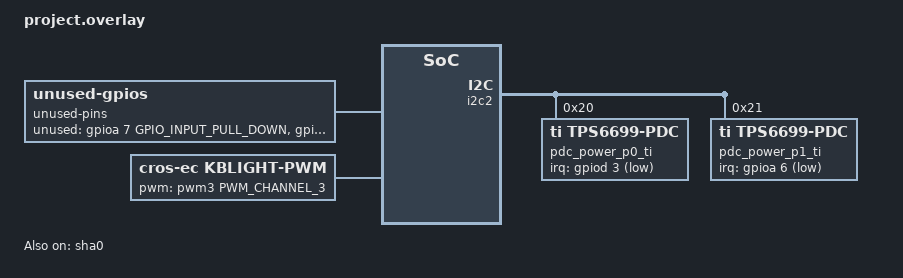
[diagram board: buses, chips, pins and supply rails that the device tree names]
/* Copyright 2025 The ChromiumOS Authors
 * Use of this source code is governed by a BSD-style license that can be
 * found in the LICENSE file.
 */

#include <cros/cbi_flash.dtsi>
#include "../ite_generated.dtsi"
#include "../interrupts.dtsi"
#include "../ite_common.dtsi"
#include "../ite_keyboard.dtsi"
#include "../ite_overlay.dtsi"
#include "../ite_usbc.dtsi"
#include "../power_signal.dtsi"
#include "../usba.dtsi"
#include "led_pins.dtsi"
#include "led_policy.dtsi"
#include "temp_sensor.dtsi"
#include "cbi.dtsi"

/ {
	batteries {
		default_battery: dynapack_b140435 {
			compatible = "dynapack,b140435","battery-smart";
		};
		celxpert_b340442 {
			compatible = "celxpert,b340442","battery-smart";
		};
		celxpert_p360644 {
			compatible = "celxpert,p360644","battery-smart";
		};
		smp_c31n2313 {
			compatible = "smp,c31n2313","battery-smart";
		};
	};

	gpio-interrupts {
		/delete-node/ lid-accel;
		/delete-node/ ec-imu;
		/delete-node/ tablet_mode;
		/delete-node/ volume-up;
		/delete-node/ volume-down;
		int_jd1: jd1 {
			irq-pin = <&gpio_jd1>;
			flags = <GPIO_INT_EDGE_BOTH>;
			handler = "audio_jack_interrupt";
		};
	};

	named-gpios {
		/delete-node/ ec_i2c_pdc0_s_int_odl;
		/delete-node/ ec_i2c_pdc1_s_int_odl;
		/delete-node/ usb_c0_dp_hpd;
		/delete-node/ usb_c1_dp_hpd;
		/delete-node/ en_usb_c0_dev_mode;
		/delete-node/ ec_kso_02_inv;
		/delete-node/ imu_int_ec_l;
		/delete-node/ lid_accel_int_ec_l;
		/delete-node/ lid_360_l;
		/delete-node/ ec_voldn_btn_odl;
		/delete-node/ ec_volup_btn_odl;
		/delete-node/ ec_pen_chg_dis_odl;
		/delete-node/ en_pp5000_z1;

		gpio_ec_en_ppvar_blpwr: ec_en_ppvar_blpwr {
			gpios = <&gpioi 1 (GPIO_OUTPUT | GPIO_OUTPUT_INIT_LOW)>;
		};
		gpio_jd1: jd1 {
			gpios = <&gpiof 0 (GPIO_INPUT | GPIO_VOLTAGE_1P8)>;
		};
		gpio_5p0va_pwr_mode: 5p0va_pwr_mode {
			gpios = <&gpiod 7 (GPIO_OUTPUT | GPIO_OUTPUT_INIT_LOW)>;
		};
		gpio_tp_vtsp_en: tp_vtsp_en {
			gpios = <&gpioe 0 (GPIO_OUTPUT | GPIO_PUSH_PULL | GPIO_OUTPUT_INIT_LOW)>;
		};
		gpio_tp_rst: tp_rst {
			gpios = <&gpioe 7 (GPIO_OUTPUT | GPIO_PUSH_PULL  | GPIO_OUTPUT_INIT_LOW)>;
		};
		gpio_tp_en: tp_en {
			gpios = <&gpiof 2 (GPIO_OUTPUT | GPIO_OPEN_DRAIN | GPIO_OUTPUT_INIT_LOW)>;
		};
	};

	named-i2c-ports {
		/delete-node/ ec_i2c_pdc_s_scl_3v3;
		/delete-node/ ec_i2c_sensor_scl_1v8;
	};

	unused-pins {
		compatible = "unused-gpios";
		unused-gpios =
			<&gpioa 7 GPIO_INPUT_PULL_DOWN>,
			<&gpiob 2 GPIO_INPUT_PULL_DOWN>,
			<&gpiob 5 GPIO_INPUT_PULL_DOWN>,
			<&gpiob 6 GPIO_INPUT_PULL_DOWN>,
			<&gpioc 7 GPIO_INPUT_PULL_DOWN>,
			<&gpiod 0 GPIO_INPUT_PULL_DOWN>,
			<&gpiod 1 GPIO_INPUT_PULL_DOWN>,
			<&gpiod 4 GPIO_INPUT_PULL_DOWN>,
			<&gpioe 3 GPIO_INPUT_PULL_DOWN>,
			<&gpioe 4 GPIO_INPUT_PULL_DOWN>,
			<&gpiof 1 GPIO_INPUT_PULL_DOWN>,
			<&gpiof 4 GPIO_INPUT_PULL_DOWN>,
			<&gpiof 5 GPIO_INPUT_PULL_DOWN>,
			<&gpioh 1 GPIO_INPUT_PULL_DOWN>,
			<&gpioh 2 GPIO_INPUT_PULL_DOWN>,
			<&gpioh 3 GPIO_INPUT_PULL_DOWN>,
			<&gpioi 5 GPIO_INPUT_PULL_DOWN>,
			<&gpioj 2 GPIO_INPUT_PULL_DOWN>;
	};

	cros-keyscan {
		compatible = "cros-ec,keyscan";

		debounce-down = <20000>;
		debounce-up = <20000>;

		actual-key-mask = <
			0x08	/* C0 */
			0xff	/* C1 */
			0xff	/* C2 */
			0xff	/* C3 */
			0xff	/* C4 */
			0xff	/* C5 */
			0xff	/* C6 */
			0xa4	/* C7 */
			0xff	/* C8 */
			0xf7	/* C9 */
			0x55	/* C10 */
			0xff	/* C11 */
			0xff	/* C12 */
			0x40	/* C13 */
			0x0a	/* C14 */
			0x40	/* C15 */
			0xff	/* C16 */
			0xff	/* C17 */
		>;
	};

	kblight {
		compatible = "cros-ec,kblight-pwm";
		pwms = <&pwm3 PWM_CHANNEL_3 PWM_KHZ(24) PWM_POLARITY_NORMAL>;
	};
};

&pwm2 {
	status = "disabled";
};

&pwm3 {
	prescaler-cx = <PWM_PRESCALER_C4>;
};

&i2c0 {
	data-hold-time = <10>;
};

&i2c4 {
	/delete-node/ ps8747-mux-1@10;
	/delete-node/ tusb546-mux-0@44;

	status = "disabled";
};

&i2c2 {
	pdc_power_p0_ti: tps6699-pdc@20 {
		compatible = "ti,tps6699-pdc";
		reg = <0x20>;
		irq-gpios = <&gpiod 3 GPIO_ACTIVE_LOW>;
		port-index-on-chip = <0x1>;
		zephyr,deferred-init;
		frs-supported;
		ccd;
	};
	pdc_power_p1_ti: tps6699-pdc@21 {
		compatible = "ti,tps6699-pdc";
		reg = <0x21>;
		irq-gpios = <&gpioa 6 GPIO_ACTIVE_LOW>;
		port-index-on-chip = <0x1>;
		zephyr,deferred-init;
		frs-supported;
	};
};

&i2c3 {
    status = "disabled";
};

&sha0 {
	status = "okay";
};

&usbc_port0 {
	pdc = <&pdc_power_p0 &pdc_power_p0_ti>;
	zephyr,deferred-init;
};

&usbc_port1 {
	pdc = <&pdc_power_p1 &pdc_power_p1_ti>;
	zephyr,deferred-init;
};

&pdc_power_p0 {
	zephyr,deferred-init;
};
&pdc_power_p1 {
	zephyr,deferred-init;
};

/*
 * When CBI in flash is enabled, setup RO flash layout as follows:
 *   RO binary:    0x00000:0x5DFFF
 *   FMAP:         0x5DC00:0x5DFFF
 *   CBI flash:    0x5E000:0x5EFFF
 *   PSTATE block: 0x5F000:0x5FFFF
 */
&binman {
	wp-ro {
		/*
		 * Delete the pstate node so that we can force it to be the
		 * last sub-section. binman doesn't handle sub-sections with
		 * out of order offsets.
		 */
		 /delete-node/ pstate;

		 ec-ro {
			fmap {
				offset =  <(0x60000 - (0x1000 * 2) - 0x400)>;
				/*
				* don't specify 'size = <0x400>' here so
				* it is auto-assigned to the fmap size.
				*/
			};
		};
		cbi {
			offset = <(0x60000 - (0x1000 * 2))>;
			size = <0x1000>;
		};
		pstate {
			type = "section";
			offset = <(0x60000 - (0x1000 * 1))>;
			size = <0x1000>;
		};
	};
};
